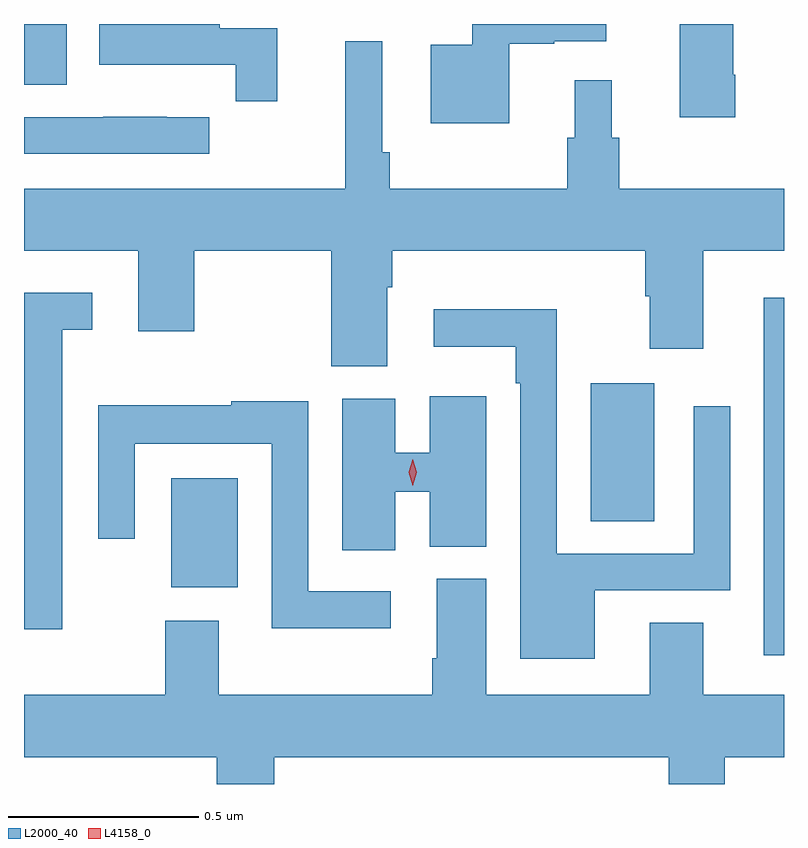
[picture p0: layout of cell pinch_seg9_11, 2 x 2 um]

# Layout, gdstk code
import gdstk
lib = gdstk.Library(unit=1e-6, precision=1e-09)
def R(c, l, rs):  # rectangles x0, y0, x1, y1
    for r in rs: c.add(gdstk.rectangle(r[:2], r[2:], *l))
def P(c, l, *ps):  # polygons
    for p in ps: c.add(gdstk.Polygon(p, *l))
L2000_40 = (2000, 40)
L4158_0 = (4158, 0)

pinch_seg9_11 = lib.new_cell('pinch_seg9_11')
R(pinch_seg9_11, L2000_40, [(1035.59,1215.336,1035.643,1216.276), (1034.03,1215.515,1034.206,1215.802), (1035.134,1215.688,1035.301,1216.051), (1033.643,1216.837,1033.756,1216.997)])
P(pinch_seg9_11, L2000_40, [(1035.515,1216.864),(1035.51,1216.864),(1035.51,1216.997),(1035.368,1216.997),(1035.368,1216.752),(1035.515,1216.752)],
  [(1034.309,1216.986),(1034.158,1216.986),(1034.158,1216.997),(1033.841,1216.997),(1033.841,1216.89),(1034.2,1216.89),(1034.2,1216.794),(1034.309,1216.794)],
  [(1034.92,1216.945),(1035.039,1216.945),(1035.039,1216.952),(1035.175,1216.952),(1035.175,1216.997),(1034.823,1216.997),(1034.823,1216.942),(1034.714,1216.942),(1034.714,1216.736),(1034.92,1216.736)],
  [(1034.599,1216.304),(1034.612,1216.304),(1034.612,1216.4),(1035.278,1216.4),(1035.278,1216.28),(1035.29,1216.28),(1035.29,1216.143),(1035.43,1216.143),(1035.43,1216.4),(1035.643,1216.4),(1035.643,1216.564),(1035.209,1216.564),(1035.209,1216.698),(1035.19,1216.698),(1035.19,1216.849),(1035.092,1216.849),(1035.092,1216.698),(1035.073,1216.698),(1035.073,1216.564),(1034.606,1216.564),(1034.606,1216.66),(1034.586,1216.66),(1034.586,1216.951),(1034.489,1216.951),(1034.489,1216.564),(1033.643,1216.564),(1033.643,1216.4),(1033.943,1216.4),(1033.943,1216.188),(1034.091,1216.188),(1034.091,1216.4),(1034.452,1216.4),(1034.452,1216.096),(1034.599,1216.096)],
  [(1034.131,1216.752),(1034.018,1216.752),(1034.018,1216.753),(1033.852,1216.753),(1033.852,1216.752),(1033.643,1216.752),(1033.643,1216.656),(1034.131,1216.656)],
  [(1033.744,1216.193),(1033.822,1216.193),(1033.822,1216.29),(1033.643,1216.29),(1033.643,1215.404),(1033.744,1215.404)],
  [(1035.145,1215.507),(1035.501,1215.507),(1035.501,1215.991),(1035.405,1215.991),(1035.405,1215.603),(1035.045,1215.603),(1035.045,1216.246),(1034.721,1216.246),(1034.721,1216.148),(1034.937,1216.148),(1034.937,1216.052),(1034.949,1216.052),(1034.949,1215.326),(1035.145,1215.326)],
  [(1034.62,1215.766),(1034.711,1215.766),(1034.711,1215.622),(1034.86,1215.622),(1034.86,1216.018),(1034.711,1216.018),(1034.711,1215.869),(1034.62,1215.869),(1034.62,1216.011),(1034.48,1216.011),(1034.48,1215.612),(1034.62,1215.612)],
  [(1034.608,1215.504),(1034.391,1215.504),(1034.391,1216.004),(1034.188,1216.004),(1034.188,1215.994),(1033.839,1215.994),(1033.839,1215.642),(1033.935,1215.642),(1033.935,1215.893),(1034.295,1215.893),(1034.295,1215.407),(1034.608,1215.407)],
  [(1034.302,1215.068),(1035.34,1215.068),(1035.34,1214.997),(1035.487,1214.997),(1035.487,1215.068),(1035.643,1215.068),(1035.643,1215.232),(1035.43,1215.232),(1035.43,1215.422),(1035.29,1215.422),(1035.29,1215.232),(1034.86,1215.232),(1034.86,1215.537),(1034.729,1215.537),(1034.729,1215.328),(1034.717,1215.328),(1034.717,1215.232),(1034.155,1215.232),(1034.155,1215.427),(1034.015,1215.427),(1034.015,1215.232),(1033.643,1215.232),(1033.643,1215.068),(1034.15,1215.068),(1034.15,1214.997),(1034.302,1214.997)])
P(pinch_seg9_11, L4158_0, [(1034.666,1215.782),(1034.666,1215.782),(1034.656,1215.817),(1034.666,1215.851),(1034.666,1215.851),(1034.666,1215.851),(1034.676,1215.817),(1034.666,1215.782)])

lib.write_gds('pinch_seg9_11.gds')
